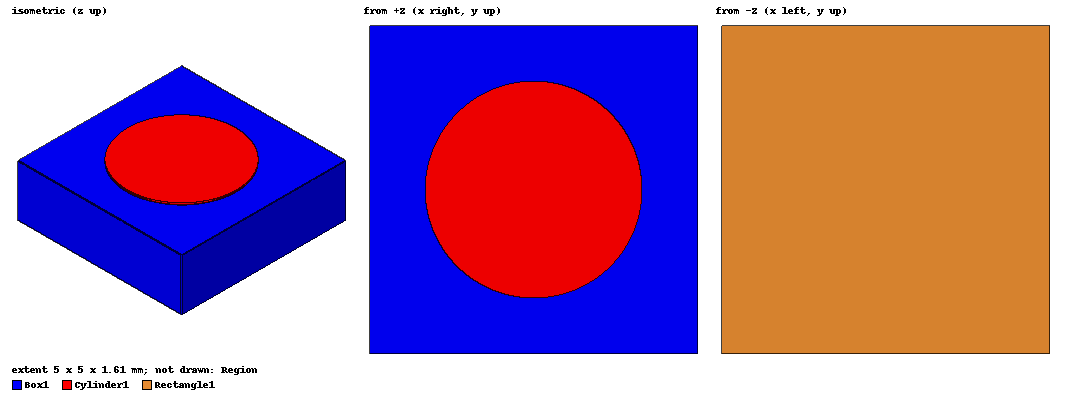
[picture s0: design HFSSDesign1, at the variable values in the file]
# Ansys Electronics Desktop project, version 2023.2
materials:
  vacuum: permittivity=1
  Rogers RT/duroid 5880 (tm): permittivity=2.2 dielectric_loss_tangent=0.0009
  pec: conductivity=1e+30

design HFSSDesign1 (HFSS, HFSS Modal Network, model units mm)
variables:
  Xsize = 5mm
  Ysize = 5mm
  margin = 1mm
  parameters = [1.65224847803022, 0.035, 1.575] mm
  H = parameters[1]
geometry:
  Rectangle1 = rectangle(corner=(0mm, 0mm, 0mm), x_size=Xsize, y_size=Ysize)
  Box1 [Rogers RT/duroid 5880 (tm)] = box(corner=(0mm, 0mm, 0mm), size=(Xsize, Ysize, parameters[2]))
  Cylinder1 [pec] = cylinder(axis=Z, base_centre=(Xsize/2, Ysize/2, parameters[2]), radius=parameters[0], height=parameters[1])
  Region [vacuum] = region(absolute_offset: +X=0mm, -X=0mm, +Y=0mm, -Y=0mm, +Z=10mm, -Z=10mm)
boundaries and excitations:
  PerfE1: Perfect E Objects=Rectangle1
  Primary1: Primary Faces=Region.face(+x) CoordSysVector{(5, 0, 11.61) -> (5, 5, 11.61)}
  Primary2: Primary Faces=Region.face(+y) CoordSysVector{(5, 5, 11.61) -> (0, 5, 11.61)}
  Secondary1: Secondary Faces=Region.face(-y) CoordSysVector{(5, 0, 11.61) -> (0, 0, 11.61)} ReverseV primary=Primary2 PhaseDelay=UseScanAngle Phi=0deg Theta=0deg
  Secondary2: Secondary Faces=Region.face(-x) CoordSysVector{(0, 0, 11.61) -> (0, 5, 11.61)} ReverseV primary=Primary1 PhaseDelay=UseScanAngle Phi=0deg Theta=0deg
  FloquetPort1: Floquet Port Faces=Region.face(+z) NumModes=2 DeembedDist=10mm Modes{Mode1{CharImp=Zpi} Mode2{CharImp=Zpi}} PhaseDelay=UseScanAngle Phi=0deg Theta=0deg LatticeAVector{(5, 0, 11.61) -> (5, 5, 11.61)} LatticeBVector{(5, 0, 11.61) -> (0, 0, 11.61)} ModesList{Mode{ModeNumber=1 IndexM=0 IndexN=0 KC2=0 PropagationState=Propagating Attenuation=0 PolarizationState=TE AffectsRefinement} Mode{ModeNumber=2 IndexM=0 IndexN=0 KC2=0 PropagationState=Propagating Attenuation=0 PolarizationState=TM AffectsRefinement}}
  FloquetPort2: Floquet Port Faces=Region.face(-z) NumModes=2 DeembedDist=10mm Modes{Mode1{CharImp=Zpi} Mode2{CharImp=Zpi}} PhaseDelay=UseScanAngle Phi=0deg Theta=0deg LatticeAVector{(5, 0, -10) -> (5, 5, -10)} LatticeBVector{(5, 0, -10) -> (0, 0, -10)} ModesList{Mode{ModeNumber=1 IndexM=0 IndexN=0 KC2=0 PropagationState=Propagating Attenuation=0 PolarizationState=TE AffectsRefinement} Mode{ModeNumber=2 IndexM=0 IndexN=0 KC2=0 PropagationState=Propagating Attenuation=0 PolarizationState=TM AffectsRefinement}}
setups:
  Setup1: HfssDriven Frequency=60GHz MaxDeltaS=0.02 MaximumPasses=10 MinimumPasses=1 MinimumConvergedPasses=1 PercentRefinement=30 BasisOrder=1 PortAccuracy=2 DrivenSolverType="Direct Solver"
    sweep Sweep: 30GHz to 90GHz step 0.01GHz; Type=Interpolating InterpTolerance=0.5 InterpMaxSolns=250 InterpUsePortImped=false PassivityErrorTolerance=0.0001
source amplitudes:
  FloquetPort1:1: 1W 0deg
  FloquetPort1:2, FloquetPort2:1, FloquetPort2:2: 0W 0deg
